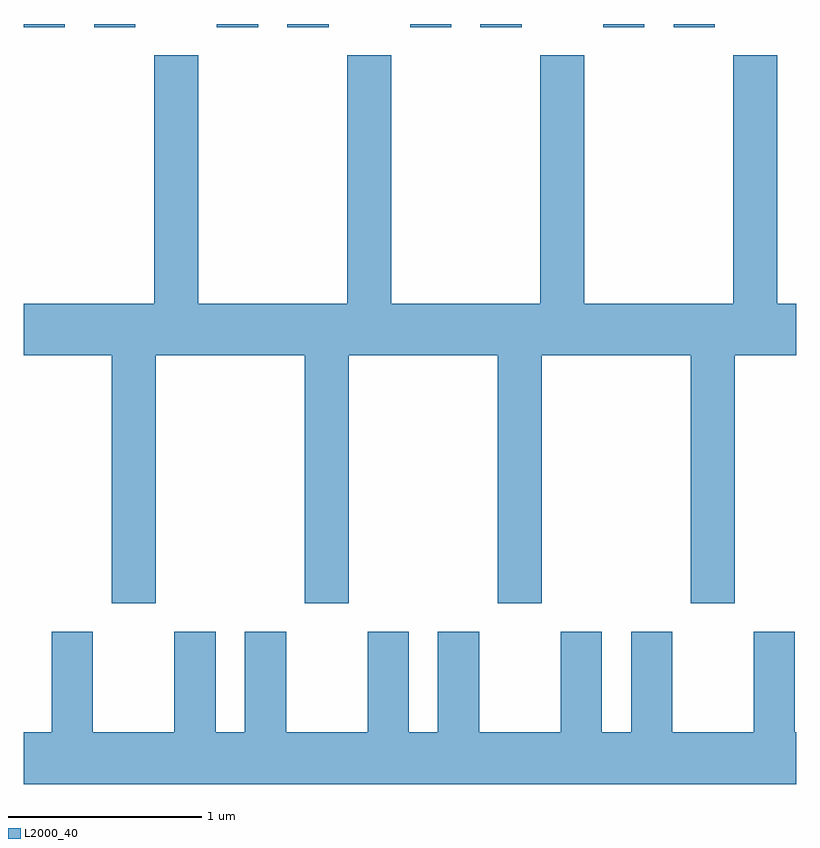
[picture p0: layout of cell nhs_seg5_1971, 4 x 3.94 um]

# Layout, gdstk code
import gdstk
lib = gdstk.Library(unit=1e-6, precision=1e-09)
def R(c, l, rs):  # rectangles x0, y0, x1, y1
    for r in rs: c.add(gdstk.rectangle(r[:2], r[2:], *l))
def P(c, l, *ps):  # polygons
    for p in ps: c.add(gdstk.Polygon(p, *l))
L2000_40 = (2000, 40)

nhs_seg5_1971 = lib.new_cell('nhs_seg5_1971')
R(nhs_seg5_1971, L2000_40, [(243.611,1454.056,243.824,1454.072), (243.976,1454.056,244.189,1454.072), (244.611,1454.056,244.824,1454.072), (244.976,1454.056,245.189,1454.072), (245.611,1454.056,245.824,1454.072), (245.976,1454.056,246.189,1454.072), (246.611,1454.056,246.824,1454.072), (246.976,1454.056,247.189,1454.072)])
P(nhs_seg5_1971, L2000_40, [(247.066,1451.071),(247.294,1451.071),(247.294,1452.356),(247.611,1452.356),(247.611,1452.624),(247.514,1452.624),(247.514,1453.909),(247.286,1453.909),(247.286,1452.624),(246.514,1452.624),(246.514,1453.909),(246.286,1453.909),(246.286,1452.624),(245.514,1452.624),(245.514,1453.909),(245.286,1453.909),(245.286,1452.624),(244.514,1452.624),(244.514,1453.909),(244.286,1453.909),(244.286,1452.624),(243.611,1452.624),(243.611,1452.356),(244.066,1452.356),(244.066,1451.071),(244.294,1451.071),(244.294,1452.356),(245.066,1452.356),(245.066,1451.071),(245.294,1451.071),(245.294,1452.356),(246.066,1452.356),(246.066,1451.071),(246.294,1451.071),(246.294,1452.356),(247.066,1452.356)],
  [(247.611,1450.404),(247.604,1450.404),(247.604,1450.924),(247.391,1450.924),(247.391,1450.404),(246.969,1450.404),(246.969,1450.924),(246.756,1450.924),(246.756,1450.404),(246.604,1450.404),(246.604,1450.924),(246.391,1450.924),(246.391,1450.404),(245.969,1450.404),(245.969,1450.924),(245.756,1450.924),(245.756,1450.404),(245.604,1450.404),(245.604,1450.924),(245.391,1450.924),(245.391,1450.404),(244.969,1450.404),(244.969,1450.924),(244.756,1450.924),(244.756,1450.404),(244.604,1450.404),(244.604,1450.924),(244.391,1450.924),(244.391,1450.404),(243.969,1450.404),(243.969,1450.924),(243.756,1450.924),(243.756,1450.404),(243.611,1450.404),(243.611,1450.136),(247.611,1450.136)])

lib.write_gds('nhs_seg5_1971.gds')
